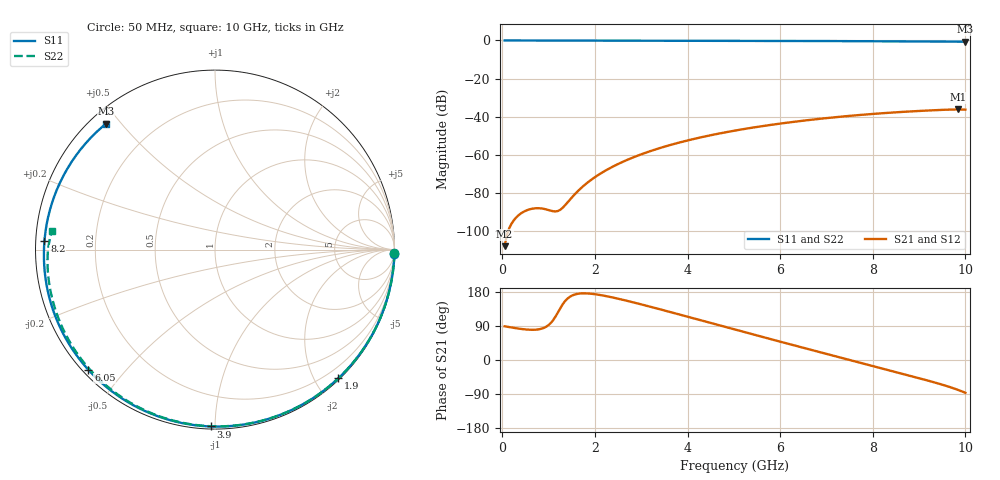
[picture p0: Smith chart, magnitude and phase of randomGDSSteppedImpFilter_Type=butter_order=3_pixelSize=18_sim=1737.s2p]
! freq	dB(S11)	phase(S11)	dB(S12)	phase(S12)
!  dB(S21)	phase(S21)	dB(S22)	phase(S22)
!S-par simulation data
#  GHz  S  DB  R 50
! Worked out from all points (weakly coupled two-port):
!   200 points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, 50 MHz to 10 GHz, reference 50 ohm
!   highest |S21| = -36.25 dB at 9.85 GHz (marker M1); lowest = -108.1 dB at 50 MHz (marker M2)
!   lowest |S11| = -0.7 dB at 10 GHz (marker M3), VSWR 26.73, Z = 2.26 + j22.8 ohm
!   |S11| at or under -10 dB: nowhere
!   |S22| runs from -0.8 to 0.0 dB; largest |S21 - S12| = 0
!   S11 on the Smith chart (normalised r, x): 50 MHz: 0, -91; 1.9 GHz: 0.02, -2.34; 3.9 GHz: 0.01, -0.98; 6.05 GHz: 0.02, -0.40; 8.2 GHz: 0.02, +0.02; 10 GHz: 0.05, +0.46
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0.05  -0.00 -1.3  -108.07 88.9  -108.07 88.9  -0.00 -1.0
0.8  -0.03 -19.8  -88.16 81.2  -88.16 81.2  -0.02 -16.1
1.6  -0.05 -39.1  -79.92 173.9  -79.92 173.9  -0.04 -31.9
1.75  -0.05 -42.7  -76.49 175.9  -76.49 175.9  -0.04 -34.8
1.9  -0.06 -46.3  -73.56 175.1  -73.56 175.1  -0.05 -37.7
2.2  -0.07 -53.3  -68.76 169.6  -68.76 169.6  -0.06 -43.5
2.55  -0.08 -61.4  -64.33 160.4  -64.33 160.4  -0.06 -50.1
2.95  -0.09 -70.4  -60.27 148.4  -60.27 148.4  -0.07 -57.6
3.4  -0.11 -80.5  -56.55 134.0  -56.55 134.0  -0.09 -65.9
3.9  -0.12 -91.4  -53.14 117.6  -53.14 117.6  -0.10 -75.0
4.45  -0.15 -103.1  -50.04 99.4  -50.04 99.4  -0.12 -84.7
5.05  -0.18 -115.7  -47.23 79.5  -47.23 79.5  -0.15 -95.1
5.55  -0.21 -126.1  -45.25 63.1  -45.25 63.1  -0.17 -103.6
6.05  -0.24 -136.4  -43.52 46.8  -43.52 46.8  -0.20 -112.1
6.7  -0.29 -150.0  -41.58 25.8  -41.58 25.8  -0.24 -123.0
7.45  -0.36 -166.0  -39.72 1.7  -39.72 1.7  -0.30 -135.6
8.2  -0.43 177.2  -38.24 -22.2  -38.24 -22.2  -0.37 -148.4
8.35  -0.45 173.7  -37.98 -27.0  -37.98 -27.0  -0.39 -151.1
9.1  -0.54 155.3  -36.91 -51.3  -36.91 -51.3  -0.48 -164.9
9.5  -0.59 144.8  -36.47 -65.1  -36.47 -65.1  -0.55 -173.1
9.85  -0.63 135.2  -36.25 -79.3  -36.25 -79.3  -0.66 178.3
10  -0.65 130.9  -36.36 -86.6  -36.36 -86.6  -0.80 173.5
